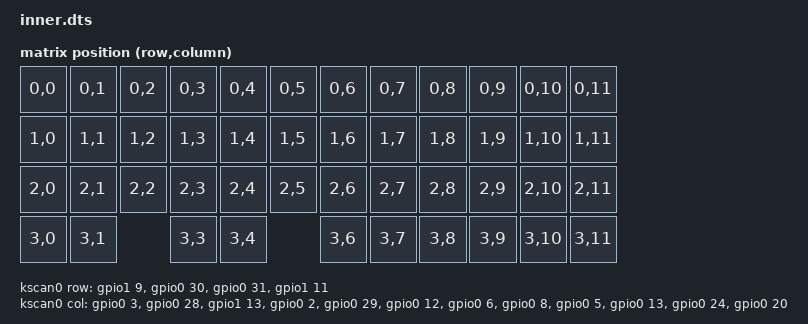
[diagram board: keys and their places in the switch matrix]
/*
 * Copyright (c) 2022 The ZMK Contributors
 *
 * SPDX-License-Identifier: MIT
 */

/dts-v1/;

#include "inner.dtsi"

/ { 

    chosen {
        zmk,kscan = &kscan0;
        zmk,matrix_transform = &default_transform;
    };


    default_transform: keymap_transform_0 {
        compatible = "zmk,matrix-transform";
        columns = <12>;
        rows = <4>;

        map = <
            RC(0,0) RC(0,1) RC(0,2) RC(0,3) RC(0,4) RC(0,5) RC(0,6) RC(0,7) RC(0,8) RC(0,9) RC(0,10) RC(0,11)
            RC(1,0) RC(1,1) RC(1,2) RC(1,3) RC(1,4) RC(1,5) RC(1,6) RC(1,7) RC(1,8) RC(1,9) RC(1,10) RC(1,11)
            RC(2,0) RC(2,1) RC(2,2) RC(2,3) RC(2,4) RC(2,5) RC(2,6) RC(2,7) RC(2,8) RC(2,9) RC(2,10) RC(2,11)
            RC(3,0) RC(3,1)         RC(3,3) RC(3,4)         RC(3,6) RC(3,7) RC(3,8) RC(3,9) RC(3,10) RC(3,11)
        >;
    };

    kscan0: kscan_0 {
     compatible = "zmk,kscan-gpio-matrix";
     label = "KSCAN";
     diode-direction = "col2row";

     col-gpios
         = <&gpio0  3 GPIO_ACTIVE_HIGH>
         , <&gpio0 28 GPIO_ACTIVE_HIGH>
         , <&gpio1 13 GPIO_ACTIVE_HIGH>
         , <&gpio0  2 GPIO_ACTIVE_HIGH>
         , <&gpio0 29 GPIO_ACTIVE_HIGH>
         , <&gpio0 12 GPIO_ACTIVE_HIGH>
         , <&gpio0  6 GPIO_ACTIVE_HIGH>
         , <&gpio0  8 GPIO_ACTIVE_HIGH>
         , <&gpio0  5 GPIO_ACTIVE_HIGH>
         , <&gpio0 13 GPIO_ACTIVE_HIGH>
         , <&gpio0 24 GPIO_ACTIVE_HIGH>
         , <&gpio0 20 GPIO_ACTIVE_HIGH>
         ;

     row-gpios
         = <&gpio1  9 (GPIO_ACTIVE_HIGH | GPIO_PULL_DOWN)>
         , <&gpio0 30 (GPIO_ACTIVE_HIGH | GPIO_PULL_DOWN)>
         , <&gpio0 31 (GPIO_ACTIVE_HIGH | GPIO_PULL_DOWN)>
         , <&gpio1 11 (GPIO_ACTIVE_HIGH | GPIO_PULL_DOWN)>
         ;
    };
    
    leds {
        compatible = "gpio-leds";

        status_led: led_0 {
            label = "STATUS LED";
            gpios = <&gpio1 13 GPIO_ACTIVE_HIGH>;
        };
 
    };

//    buttons {
//        compatible = "gpio-keys";
//        button0: button_0 {
//            gpios = <&gpio0 13 (GPIO_PULL_UP | GPIO_ACTIVE_LOW)>;
//            label = "Push button switch";
//        };
//        button1: button_1 {
//            gpios = <&gpio0 20 (GPIO_PULL_UP | GPIO_ACTIVE_LOW)>;
//            label = "Push button switch";
//        };
//    };

    ext-power {
        compatible = "zmk,ext-power-generic";
        label = "EXT_POWER";
        control-gpios = <&gpio0 4 GPIO_ACTIVE_LOW>;
    };

    vbatt {
        compatible = "zmk,battery-voltage-divider";
        label = "BATTERY";
        io-channels = <&adc 7>;
        output-ohms = <2000000>;
        full-ohms = <(2000000 + 806000)>;
    };
};

//&spi1 {
//  mosi-pin = <4>;
//  // Unused pins, needed for SPI definition, but not used by thews2812 driver itself.
//  sck-pin = <6>;
//  miso-pin = <8>;
//};
&spi1 {
  mosi-pin = <4>;
  // Unused pins, needed for SPI definition, but not used by the ws2812 driver itself.
  sck-pin = <6>;
  miso-pin = <8>;

  led_strip: ws2812@0 {
    compatible = "worldsemi,ws2812-spi";
    label = "WS2812";

    /* SPI */
    reg = <0>; /* ignored, but necessary for SPI bindings */
    spi-max-frequency = <4000000>;

    /* WS2812 */
    chain-length = <20>; /* number of LEDs */
    spi-one-frame = <0x70>;
    spi-zero-frame = <0x40>;
  };
};
